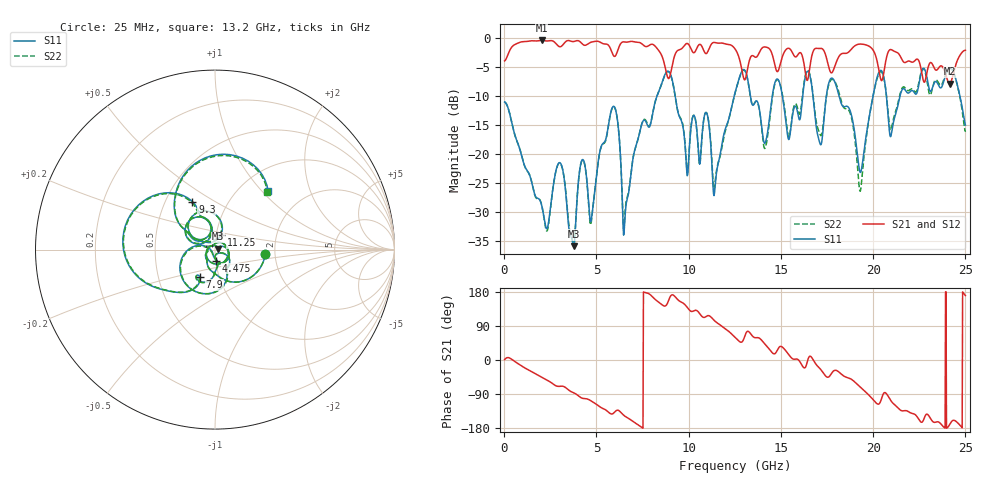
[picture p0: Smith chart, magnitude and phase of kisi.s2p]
! R_s4_rect_n0: Finite board 24 × 16 mm, via L1 → L4 through the L2/L3 cavity, no return via
! stackup: 4-layer 1.6 mm FR-4
! ports: 1 L1, 2 L4
! kisi-fdtd, conformal, dfine 0.07 mm, 660192 cells
# Hz S RI R 50
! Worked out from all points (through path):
!   1000 points, 25 MHz to 25 GHz, reference 50 ohm
!   highest |S21| = -0.42 dB at 2.025 GHz (marker M1); lowest = -7.9 dB at 24.15 GHz (marker M2)
!   group delay of S21, straight-line fit = 61.8 ps
!   lowest |S11| = -35.9 dB at 3.775 GHz (marker M3), VSWR 1.03, Z = 51.6 + j0.466 ohm
!   |S11| at or under -10 dB: start of sweep to 8.284 GHz; 9.27 GHz to 12.47 GHz (3.198 GHz wide, 29.4 % of centre); 18.15 GHz to 20 GHz (1.844 GHz wide, 9.67 % of centre)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
!   |S22| runs from -35.7 to -5.3 dB; largest |S21 - S12| = 1.3e-06
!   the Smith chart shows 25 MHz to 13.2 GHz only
!   S11 on the Smith chart (normalised r, x): 25 MHz: 1.78, -0.09; 4.475 GHz: 1.00, -0.12; 7.9 GHz: 0.81, -0.25; 9.3 GHz: 0.68, +0.40; 11.25 GHz: 1.05, +0.17; 13.2 GHz: 1.34, +1.08
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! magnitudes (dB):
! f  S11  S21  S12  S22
! 25 MHz  -11.0  -3.9  -3.9  -11.0
! 2.025 GHz  -28.7  -0.4  -0.4  -28.7
! 3.05 GHz  -21.6  -1.5  -1.5  -21.6
! 3.775 GHz  -35.9  -0.6  -0.6  -35.7
! 4.2 GHz  -21.2  -0.9  -0.9  -21.2
! 4.475 GHz  -24.3  -1.2  -1.2  -24.4
! 5.95 GHz  -11.8  -3.1  -3.1  -11.8
! 6.55 GHz  -30.8  -0.7  -0.7  -30.2
! 7.9 GHz  -15.2  -1.2  -1.2  -15.1
! 8.35 GHz  -9.5  -2.0  -2.0  -9.5
! 9.3 GHz  -10.6  -2.6  -2.6  -10.7
! 11.25 GHz  -21.1  -1.0  -1.0  -20.6
! 12.53 GHz  -9.3  -1.9  -1.9  -9.4
! 13.2 GHz  -7.1  -5.2  -5.2  -7.2
! 14.15 GHz  -18.0  -1.5  -1.5  -19.0
! 16.68 GHz  -8.3  -3.1  -3.1  -8.1
! 17.98 GHz  -8.0  -4.4  -4.4  -7.8
! 19.3 GHz  -23.2  -1.0  -1.0  -26.4
! 20.27 GHz  -6.2  -4.9  -4.9  -6.4
! 20.85 GHz  -15.0  -2.2  -2.2  -14.2
! 24.15 GHz  -5.1  -7.9  -7.9  -5.3
! 25 GHz  -15.0  -2.1  -2.1  -16.2
